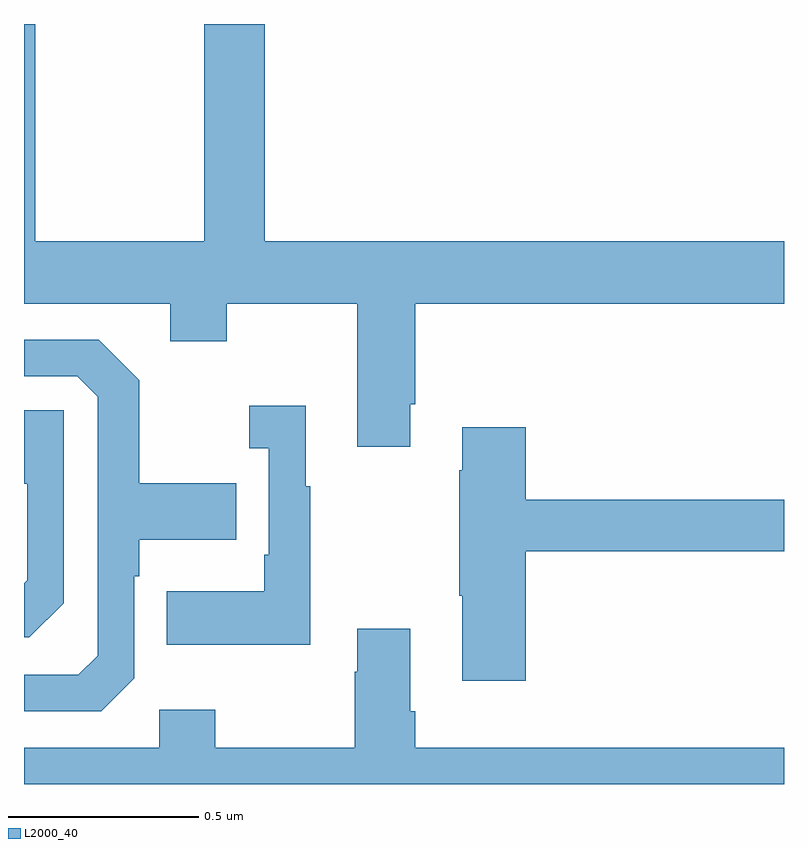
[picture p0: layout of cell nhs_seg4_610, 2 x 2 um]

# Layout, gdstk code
import gdstk
lib = gdstk.Library(unit=1e-6, precision=1e-09)
def P(c, l, *ps):  # polygons
    for p in ps: c.add(gdstk.Polygon(p, *l))
L2000_40 = (2000, 40)

nhs_seg4_610 = lib.new_cell('nhs_seg4_610')
P(nhs_seg4_610, L2000_40, [(119.017,785.899),(119.03,785.899),(119.03,786.164),(120,786.164),(120,786.328),(118.634,786.328),(118.634,786.9),(118.474,786.9),(118.474,786.328),(118.029,786.328),(118.029,786.9),(118,786.9),(118,786.164),(118.385,786.164),(118.385,786.065),(118.533,786.065),(118.533,786.164),(118.877,786.164),(118.877,785.787),(119.017,785.787)],
  [(118.29,785.178),(118.29,785.447),(118.303,785.447),(118.303,785.543),(118.559,785.543),(118.559,785.691),(118.303,785.691),(118.303,785.963),(118.197,786.069),(118,786.069),(118,785.973),(118.14,785.973),(118.194,785.919),(118.194,785.238),(118.143,785.187),(118,785.187),(118,785.091),(118.203,785.091)],
  [(118.753,785.683),(118.741,785.683),(118.741,785.896),(118.593,785.896),(118.593,785.783),(118.644,785.783),(118.644,785.503),(118.632,785.503),(118.632,785.407),(118.375,785.407),(118.375,785.267),(118.753,785.267)],
  [(118.104,785.376),(118.104,785.883),(118,785.883),(118,785.69),(118.008,785.69),(118.008,785.436),(118,785.428),(118,785.286),(118.014,785.286)],
  [(119.321,785.512),(120,785.512),(120,785.648),(119.321,785.648),(119.321,785.839),(119.153,785.839),(119.153,785.726),(119.146,785.726),(119.146,785.395),(119.153,785.395),(119.153,785.172),(119.321,785.172)],
  [(120,784.996),(119.03,784.996),(119.03,785.092),(119.017,785.092),(119.017,785.308),(118.877,785.308),(118.877,785.195),(118.87,785.195),(118.87,784.996),(118.503,784.996),(118.503,785.095),(118.356,785.095),(118.356,784.996),(118,784.996),(118,784.9),(120,784.9)])

lib.write_gds('nhs_seg4_610.gds')
